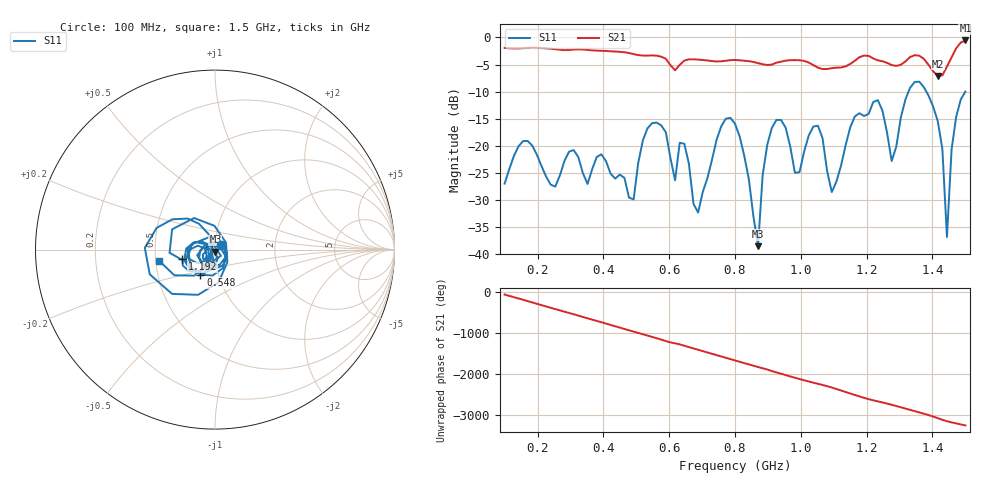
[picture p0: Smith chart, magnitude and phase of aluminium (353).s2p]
! NanoVNA-App
! Date: 2025-09-25 14:58:01
! Start: 100MHz Stop: 1,5GHz Points: 101
! S-Parameter data: F S11 S21 S12 S22
# Hz S RI R 50
!  Frequency  S11_Real  S11_Imag  S21_Real  S21_Imag  S12_Real  S12_Imag  S22_Real  S22_Imag
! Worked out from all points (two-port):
!   101 points, 100 MHz to 1.5 GHz, reference 50 ohm
!   highest |S21| = -0.55 dB at 1.5 GHz (marker M1); lowest = -7.1 dB at 1.416 GHz (marker M2)
!   |S21| within 3 dB of the highest: start of sweep to 576.2 MHz; 1.459 GHz to end of sweep (the widest 2 of 4)
!   lowest |S11| = -38.5 dB at 870 MHz (marker M3), VSWR 1.02, Z = 50.3 - j1.17 ohm
!   |S11| at or under -10 dB: start of sweep to 1.327 GHz; 1.381 GHz to 1.5 GHz (118.5 MHz wide, 8.22 % of centre)
!   S12 and S22 are empty: the file has one direction only
!   S11 on the Smith chart (normalised r, x): 100 MHz: 1.07, +0.06; 548 MHz: 0.82, -0.24; 1.192 GHz: 0.69, -0.08; 1.5 GHz: 0.52, -0.07
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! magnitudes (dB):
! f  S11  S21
! 100 MHz  -27.0  -1.9
! 156 MHz  -19.1  -2.0
! 338 MHz  -25.1  -2.2
! 492 MHz  -29.9  -3.1
! 548 MHz  -15.8  -3.3
! 576 MHz  -16.2  -3.5
! 646 MHz  -19.6  -4.3
! 688 MHz  -32.3  -4.1
! 800 MHz  -15.9  -4.1
! 870 MHz  -38.5  -4.7
! 912 MHz  -16.7  -5.0
! 982 MHz  -25.0  -4.2
! 1.038 GHz  -16.4  -5.1
! 1.094 GHz  -28.5  -5.7
! 1.192 GHz  -14.5  -3.3
! 1.234 GHz  -11.6  -4.2
! 1.276 GHz  -22.8  -5.1
! 1.346 GHz  -8.2  -3.3
! 1.416 GHz  -15.4  -7.1
! 1.444 GHz  -36.8  -5.4
! 1.458 GHz  -20.7  -3.7
! 1.5 GHz  -10.0  -0.6
